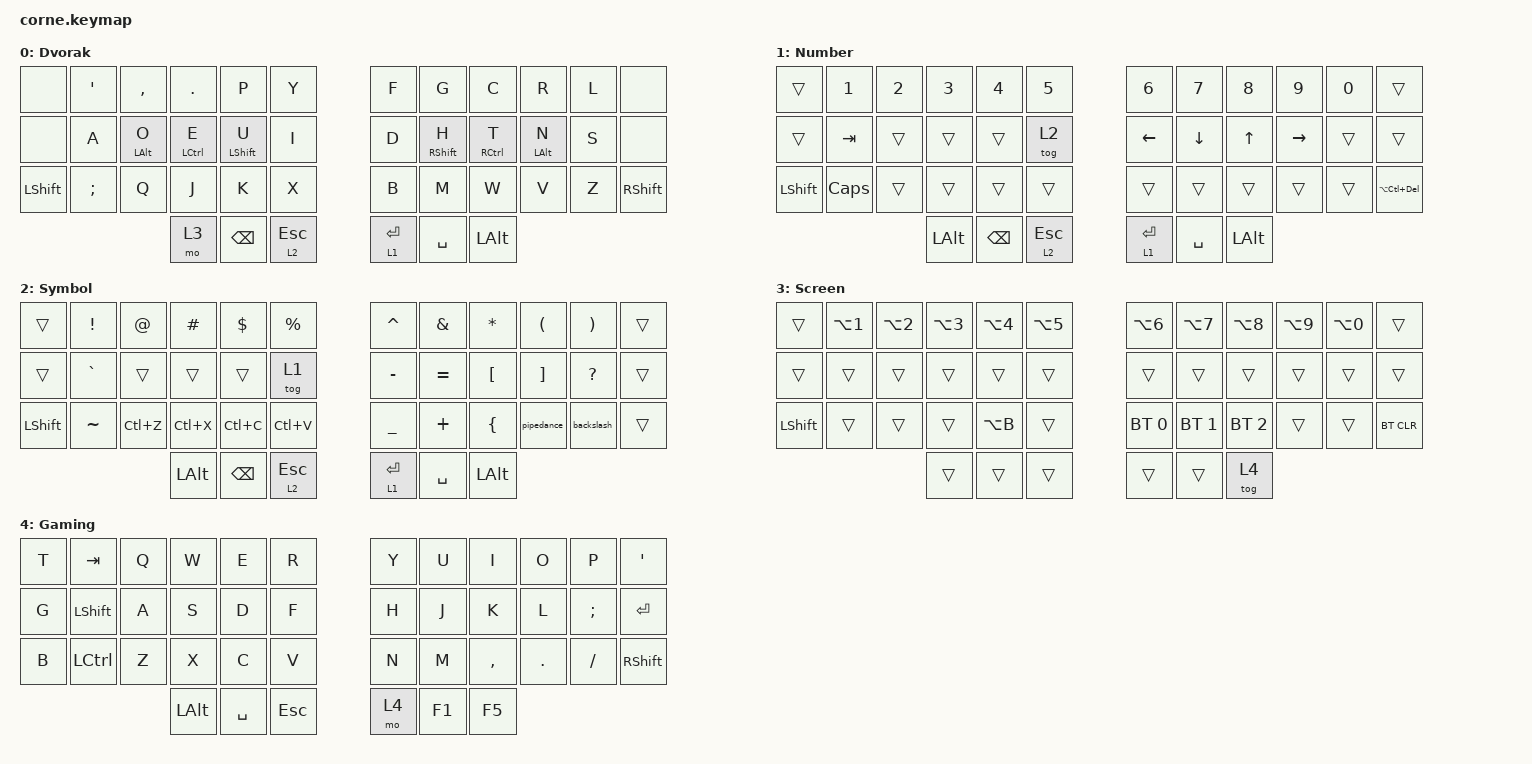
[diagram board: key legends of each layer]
/*
 * Copyright (c) 2020 The ZMK Contributors
 *
 * SPDX-License-Identifier: MIT
 */

#include <behaviors.dtsi>
#include <dt-bindings/zmk/bt.h>
#include <dt-bindings/zmk/keys.h>

/ {
    chosen {
        zmk,kscan = &kscan0;
        zmk,matrix-transform = &default_transform;
    };

    behaviors {
        hmr: hmr {
            compatible = "zmk,behavior-hold-tap";
            label = "HMR";
            bindings = <&kp>, <&kp>;

            #binding-cells = <2>;
            tapping-term-ms = <280>;
            quick-tap-ms = <175>;
            flavor = "balanced";
            hold-trigger-key-positions = <0 1 2 4 5 12 13 14 15 16 17 24 25 26 27 28 29 36 37 38 3 39 40 41>;
            hold-trigger-on-release;
        };

        hml: hml {
            compatible = "zmk,behavior-hold-tap";
            label = "HML";
            bindings = <&kp>, <&kp>;

            #binding-cells = <2>;
            tapping-term-ms = <280>;
            quick-tap-ms = <175>;
            flavor = "balanced";
            hold-trigger-on-release;
            hold-trigger-key-positions = <36 37 38 6 7 8 9 10 11 18 19 20 21 22 23 30 31 32 33 34 35 39 40 41>;
        };

        backslash: backslash {
            compatible = "zmk,behavior-tap-dance";
            label = "BACKSLASH";
            #binding-cells = <0>;
            tapping-term-ms = <200>;
            bindings = <&kp SLASH>, <&kp BACKSLASH>;
        };

        pipedance: pipedance {
            compatible = "zmk,behavior-tap-dance";
            label = "PIPEDANCE";
            #binding-cells = <0>;
            bindings = <&kp RIGHT_BRACE>, <&kp PIPE>;
        };
    };

    keymap {
        compatible = "zmk,keymap";

        default_layer {
            label = "Dvorak";

            // -----------------------------------------------------------------------------------------
            // |  TAB |  Q  |  W  |  E  |  R  |  T  |   |  Y  |  U   |  I  |  O  |  P  | BSPC |
            // | CTRL |  A  |  S  |  D  |  F  |  G  |   |  H  |  J   |  K  |  L  |  ;  |  '   |
            // | SHFT |  Z  |  X  |  C  |  V  |  B  |   |  N  |  M   |  ,  |  .  |  /  | ESC  |
            //                    | GUI | LWR | SPC |   | ENT | RSE  | ALT |

            bindings = <
&none           &kp SQT   &kp COMMA        &kp PERIOD           &kp P              &kp Y        &kp F      &kp G               &kp C                 &kp R            &kp L  &none
&none           &kp A     &hml LEFT_ALT O  &hml LEFT_CONTROL E  &hml LEFT_SHIFT U  &kp I        &kp D      &hmr RIGHT_SHIFT H  &hmr RIGHT_CONTROL T  &hmr LEFT_ALT N  &kp S  &none
&kp LEFT_SHIFT  &kp SEMI  &kp Q            &kp J                &kp K              &kp X        &kp B      &kp M               &kp W                 &kp V            &kp Z  &kp RIGHT_SHIFT
                                           &mo 3                &kp BACKSPACE      &lt 2 ESC    &lt 1 RET  &kp SPACE           &kp LEFT_ALT
            >;
        };

        lower_layer {
            label = "Number";

            // -----------------------------------------------------------------------------------------
            // |  TAB |  1  |  2  |  3  |  4  |  5  |   |  6  |  7  |  8  |  9  |  0  | BSPC |
            // | BTCLR| BT1 | BT2 | BT3 | BT4 | BT5 |   | LFT | DWN |  UP | RGT |     |      |
            // | SHFT |     |     |     |     |     |   |     |     |     |     |     |      |
            //                    | GUI |     | SPC |   | ENT |     | ALT |

            bindings = <
&trans     &kp N1        &kp N2  &kp N3        &kp N4         &kp N5       &kp N6       &kp N7     &kp N8        &kp N9     &kp N0  &trans
&trans     &kp TAB       &trans  &trans        &trans         &tog 2       &kp LEFT     &kp DOWN   &kp UP        &kp RIGHT  &trans  &trans
&kp LSHFT  &kp CAPSLOCK  &trans  &trans        &trans         &trans       &trans       &trans     &trans        &trans     &trans  &kp LA(LC(DELETE))
                                 &kp LEFT_ALT  &kp BACKSPACE  &lt 2 ESC    &lt 1 ENTER  &kp SPACE  &kp LEFT_ALT
            >;
        };

        raise_layer {
            label = "Symbol";

            // -----------------------------------------------------------------------------------------
            // |  TAB |  !  |  @  |  #  |  $  |  %  |   |  ^  |  &  |  *  |  (  |  )  | BSPC |
            // | CTRL |     |     |     |     |     |   |  -  |  =  |  [  |  ]  |  \  |  `   |
            // | SHFT |     |     |     |     |     |   |  _  |  +  |  {  |  }  | "|" |  ~   |
            //                    | GUI |     | SPC |   | ENT |     | ALT |

            bindings = <
&trans     &kp EXCL   &kp AT     &kp HASH      &kp DLLR       &kp PRCNT    &kp CARET    &kp AMPS   &kp ASTRK     &kp LPAR    &kp RPAR      &trans
&trans     &kp GRAVE  &trans     &trans        &trans         &tog 1       &kp MINUS    &kp EQUAL  &kp LBKT      &kp RBKT    &kp QUESTION  &trans
&kp LSHFT  &kp TILDE  &kp LC(Z)  &kp LC(X)     &kp LC(C)      &kp LC(V)    &kp UNDER    &kp PLUS   &kp LBRC      &pipedance  &backslash    &trans
                                 &kp LEFT_ALT  &kp BACKSPACE  &lt 2 ESC    &lt 1 ENTER  &kp SPACE  &kp LEFT_ALT
            >;
        };

        screen_control {
            label = "Screen";
            bindings = <
&trans          &kp LA(N1)  &kp LA(N2)  &kp LA(N3)  &kp LA(N4)  &kp LA(N5)    &kp LA(NUMBER_6)  &kp LA(N7)    &kp LA(N8)    &kp LA(N9)  &kp LA(N0)  &trans
&trans          &trans      &trans      &trans      &trans      &trans        &trans            &trans        &trans        &trans      &trans      &trans
&kp LEFT_SHIFT  &trans      &trans      &trans      &kp LA(B)   &trans        &bt BT_SEL 0      &bt BT_SEL 1  &bt BT_SEL 2  &trans      &trans      &bt BT_CLR
                                        &trans      &trans      &trans        &trans            &trans        &tog 4
            >;
        };

        layer_4 {
            bindings = <
&kp T  &kp TAB           &kp Q  &kp W         &kp E      &kp R      &kp Y  &kp U   &kp I      &kp O       &kp P          &kp SQT
&kp G  &kp LEFT_SHIFT    &kp A  &kp S         &kp D      &kp F      &kp H  &kp J   &kp K      &kp L       &kp SEMICOLON  &kp ENTER
&kp B  &kp LEFT_CONTROL  &kp Z  &kp X         &kp C      &kp V      &kp N  &kp M   &kp COMMA  &kp PERIOD  &kp SLASH      &kp RIGHT_SHIFT
                                &kp LEFT_ALT  &kp SPACE  &kp ESC    &mo 4  &kp F1  &kp F5
            >;

            label = "Gaming";
        };
    };

    //  soft_off_wakers {
    //      compatible = "zmk,soft-off-wakeup-sources";
    //      wakeup-sources = <&kscan0>;
    //  };
};
